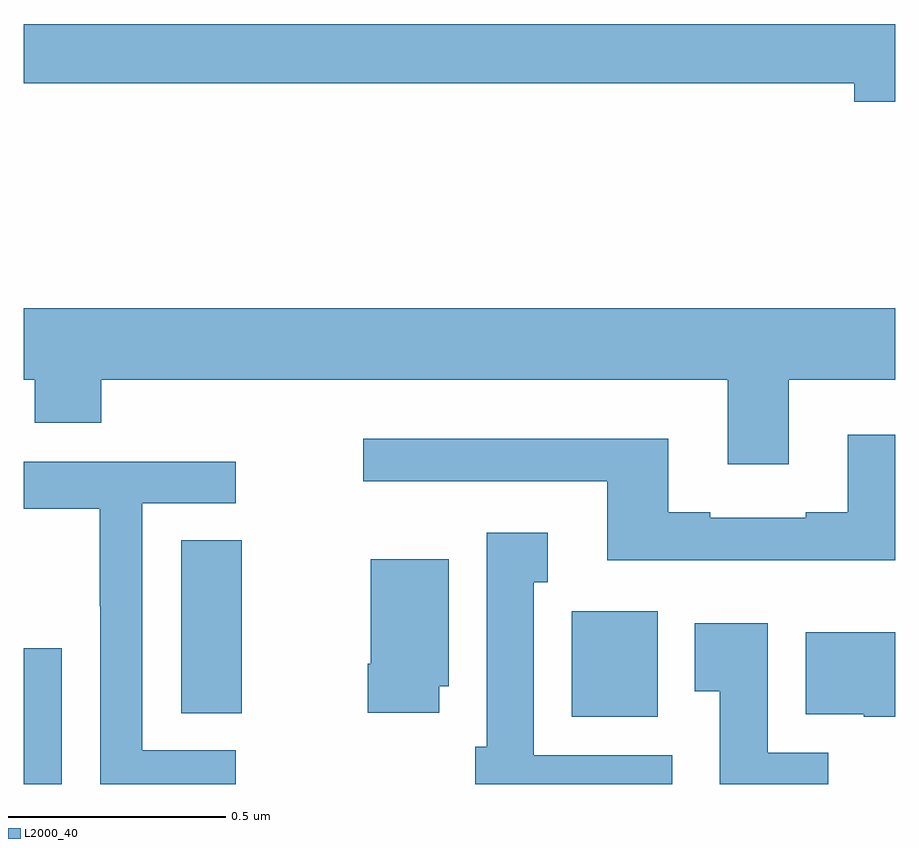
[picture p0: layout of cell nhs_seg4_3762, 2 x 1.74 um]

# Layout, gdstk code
import gdstk
lib = gdstk.Library(unit=1e-6, precision=1e-09)
def R(c, l, rs):  # rectangles x0, y0, x1, y1
    for r in rs: c.add(gdstk.rectangle(r[:2], r[2:], *l))
def P(c, l, *ps):  # polygons
    for p in ps: c.add(gdstk.Polygon(p, *l))
L2000_40 = (2000, 40)

nhs_seg4_3762 = lib.new_cell('nhs_seg4_3762')
R(nhs_seg4_3762, L2000_40, [(157,787.9,157.087,788.211), (158.258,788.054,158.455,788.296), (157.361,788.062,157.5,788.459)])
P(nhs_seg4_3762, L2000_40, [(159,789.644),(157,789.644),(157,789.508),(158.906,789.508),(158.906,789.466),(159,789.466)],
  [(158.755,788.828),(159,788.828),(159,788.992),(157,788.992),(157,788.828),(157.025,788.828),(157.025,788.729),(157.178,788.729),(157.178,788.828),(158.615,788.828),(158.615,788.634),(158.755,788.634)],
  [(159,788.701),(158.891,788.701),(158.891,788.524),(158.795,788.524),(158.795,788.511),(158.575,788.511),(158.575,788.524),(158.479,788.524),(158.479,788.692),(157.779,788.692),(157.779,788.595),(158.339,788.595),(158.339,788.414),(159,788.414)],
  [(157.486,787.977),(157.272,787.977),(157.272,788.544),(157.486,788.544),(157.486,788.64),(157,788.64),(157,788.532),(157.174,788.532),(157.174,788.308),(157.176,788.308),(157.176,787.9),(157.486,787.9)],
  [(158.488,787.966),(158.17,787.966),(158.17,788.363),(158.203,788.363),(158.203,788.476),(158.063,788.476),(158.063,787.986),(158.036,787.986),(158.036,787.9),(158.488,787.9)],
  [(157.954,788.124),(157.975,788.124),(157.975,788.416),(157.796,788.416),(157.796,788.176),(157.789,788.176),(157.789,788.064),(157.954,788.064)],
  [(158.846,787.972),(158.707,787.972),(158.707,788.269),(158.54,788.269),(158.54,788.113),(158.597,788.113),(158.597,787.9),(158.846,787.9)],
  [(159,788.248),(158.795,788.248),(158.795,788.06),(158.928,788.06),(158.928,788.054),(159,788.054)])

lib.write_gds('nhs_seg4_3762.gds')
